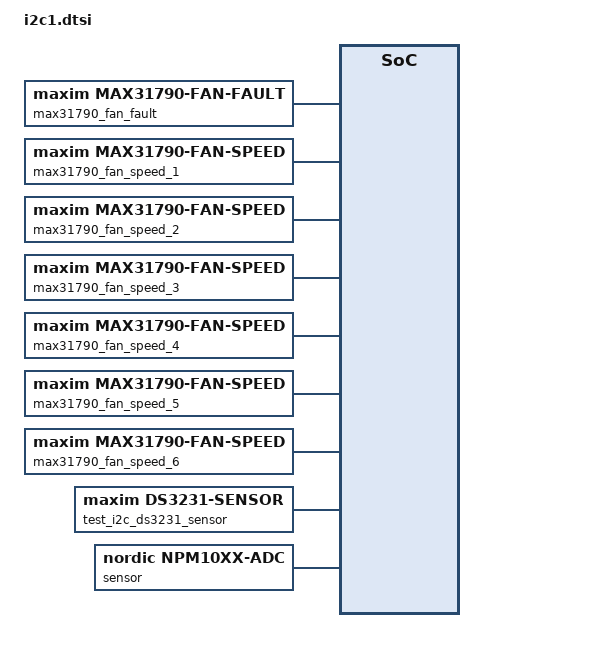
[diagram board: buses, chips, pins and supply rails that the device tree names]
/*
 * Copyright (c) 2020, Linaro Ltd.
 *
 * SPDX-License-Identifier: Apache-2.0
 *
 * Application overlay for i2c devices
 */

#include <zephyr/dt-bindings/sensor/lsm6dsv16x.h>
#include <zephyr/dt-bindings/sensor/lsm6dsv32x.h>
#include <zephyr/dt-bindings/sensor/lsm6dsv320x.h>
#include <zephyr/dt-bindings/sensor/lsm6dsv80x.h>
#include <zephyr/dt-bindings/sensor/ism6hg256x.h>
#include <zephyr/dt-bindings/sensor/lsm6dso.h>
#include <zephyr/dt-bindings/sensor/lsm6dso16is.h>
#include <zephyr/dt-bindings/sensor/lps22hh.h>
#include <zephyr/dt-bindings/sensor/lps2xdf.h>
#include <zephyr/dt-bindings/sensor/lis2ds12.h>
#include <zephyr/dt-bindings/sensor/lis2dw12.h>
#include <zephyr/dt-bindings/sensor/ism330dhcx.h>
#include <zephyr/dt-bindings/sensor/iis2dlpc.h>
#include <zephyr/dt-bindings/sensor/lis2dh.h>
#include <zephyr/dt-bindings/sensor/iis2iclx.h>
#include <zephyr/dt-bindings/sensor/lis2du12.h>
#include <zephyr/dt-bindings/sensor/lis2dux12.h>
#include <zephyr/dt-bindings/sensor/lis2de12.h>
#include <zephyr/dt-bindings/sensor/pac194x.h>
#include <zephyr/dt-bindings/sensor/tmag5273.h>
#include <zephyr/dt-bindings/sensor/stts22h.h>
#include <zephyr/dt-bindings/sensor/ina226.h>
#include <zephyr/dt-bindings/sensor/apds9253.h>
#include <zephyr/dt-bindings/sensor/tmp11x.h>
#include <zephyr/dt-bindings/sensor/tmp114.h>

/****************************************
 * PLEASE KEEP REG ADDRESSES SEQUENTIAL *
 **************************************
 */

test_i2c_lis2de12: lis2de12@0 {
	compatible = "st,lis2de12";
	reg = <0x00>;
	int1-gpios = <&test_gpio 0 0>;
	int2-gpios = <&test_gpio 0 0>;
	accel-range = <LIS2DE12_DT_FS_16G>;
	accel-odr = <LIS2DE12_DT_ODR_AT_100Hz>;
};

test_i2c_vishay_vcnl36825t: vcnl36825t@1 {
	compatible = "vishay,vcnl36825t";
	reg = <0x01>;

	proximity-it = "1";
	multi-pulse = <8>;

	low-power;

	int-gpios = <&test_gpio 0 0>;
};

test_i2c_tmag5273: tmag5273@2 {
	compatible = "ti,tmag5273";
	status = "okay";
	reg = <0x02>;
	int-gpios = <&test_gpio 15 1>;

	operation-mode = <TMAG5273_DT_OPER_MODE_CONTINUOUS>;
	angle-magnitude-axis = <TMAG5273_DT_ANGLE_MAG_XY>;
};

test_i2c_ens160: ens160@3 {
	compatible = "sciosense,ens160";
	reg = <0x03>;
	int-gpios = <&test_gpio 0 0>;
};

test_i2c_tsl2591: tsl2591@4 {
	compatible = "ams,tsl2591";
	reg = <0x04>;
	int-gpios = <&test_gpio 0 0>;
};

test_i2c_max31790: max31790@5 {
	compatible = "maxim,max31790";
	status = "okay";
	reg = <0x05>;

	max31790_fan_fault: max31790_fan_fault {
		compatible = "maxim,max31790-fan-fault";
		status = "okay";
	};

	max31790_fan_speed_1: max31790_fan_speed_1 {
		compatible = "maxim,max31790-fan-speed";
		status = "okay";
		channel = <1>;
	};

	max31790_fan_speed_2: max31790_fan_speed_2 {
		compatible = "maxim,max31790-fan-speed";
		status = "okay";
		channel = <2>;
	};

	max31790_fan_speed_3: max31790_fan_speed_3 {
		compatible = "maxim,max31790-fan-speed";
		status = "okay";
		channel = <3>;
	};

	max31790_fan_speed_4: max31790_fan_speed_4 {
		compatible = "maxim,max31790-fan-speed";
		status = "okay";
		channel = <4>;
	};

	max31790_fan_speed_5: max31790_fan_speed_5 {
		compatible = "maxim,max31790-fan-speed";
		status = "okay";
		channel = <5>;
	};

	max31790_fan_speed_6: max31790_fan_speed_6 {
		compatible = "maxim,max31790-fan-speed";
		status = "okay";
		channel = <6>;
	};
};

test_i2c_stts22h: stts22h@6 {
	compatible = "st,stts22h";
	reg = <0x06>;
	int-gpios = <&test_gpio 0 0>;
	sampling-rate = <STTS22H_100Hz>;
};

test_i2c_dht20: dht20@7 {
	compatible = "aosong,dht20";
	reg = <0x07>;
	status = "okay";
};

test_i2c_aht20: aht20@8 {
	compatible = "aosong,aht20";
	reg = <0x08>;
	status = "okay";
};

test_i2c_am2301b: am2301b@9 {
	compatible = "aosong,am2301b";
	reg = <0x09>;
};

test_i2c_lis2dux12: lis2dux12@a {
	compatible = "st,lis2dux12";
	reg = <0x0a>;
	int1-gpios = <&test_gpio 0 0>;
	int2-gpios = <&test_gpio 0 0>;
	range = <LIS2DUX12_DT_FS_16G>;
	odr = <LIS2DUX12_DT_ODR_100Hz>;
	power-mode = <LIS2DUX12_OPER_MODE_HIGH_PERFORMANCE>;
	status = "okay";
};

test_i2c_iis328dq: iis328dq@b {
	compatible = "st,iis328dq";
	status = "okay";
	reg = <0x0b>;
	int2-gpios = <&test_gpio 0 0>;
	threshold-int-pad = <2>;
};

test_i2c_nct75: test_i2c_nct75@c {
	compatible = "onnn,nct75";
	reg = <0x0c>;
	status = "okay";
};

test_i2c_tmp114: tmp114@d {
	compatible = "ti,tmp114";
	reg = <0x0d>;
	odr = <TMP114_DT_ODR_250_MS>;
};

test_i2c_ina226: ina226@e {
	compatible = "ti,ina226";
	reg = <0x0e>;
	current-lsb-microamps = <5000>;
	rshunt-micro-ohms = <500>;
};

test_i2c_shtc1: shtc1@f {
	compatible = "sensirion,shtc1", "sensirion,shtcx";
	reg = <0x0f>;
	measure-mode = "low-power";
	clock-stretching;
};

test_i2c_lm95234: lm95234@10 {
	compatible = "national,lm95234";
	reg = <0x10>;
	status = "okay";
};

test_i2c_sht21: sht21@11 {
	compatible = "sensirion,sht21";
	reg = <0x11>;
};

test_i2c_lsm9ds1: lsm9ds1@12 {
	compatible = "st,lsm9ds1";
	reg = <0x12>;
};

test_i2c_icm42670p: icm42670p@13 {
	compatible = "invensense,icm42670p";
	reg = <0x13>;
	int-gpios = <&test_gpio 0 0>;
	accel-hz = <800>;
	accel-fs = <16>;
	gyro-hz = <800>;
	gyro-fs = <2000>;
};

test_i2c_fxls8974: fxls8974@14 {
	compatible = "nxp,fxls8974";
	reg = <0x14>;
	reset-gpios = <&test_gpio 0 0>;
	int1-gpios = <&test_gpio 0 0>;
	int2-gpios = <&test_gpio 0 0>;
};

test_i2c_bmp180: bmp180@15 {
	compatible = "bosch,bmp180";
	reg = <0x15>;
	osr-press = <0x01>;
};

test_i2c_apds9253: apds9253@16 {
	compatible = "avago,apds9253";
	reg = <0x16>;
	int-gpios = <&test_gpio 0 0>;
	gain = <APDS9253_GAIN_RANGE_1>;
	rate = <APDS9253_MEASUREMENT_RATE_50MS>;
	resolution = <APDS9253_RESOLUTION_16BIT_25MS>;
};

test_i2c_mmc56x3: mmc56x3@17 {
	compatible = "memsic,mmc56x3";
	reg = <0x17>;
	magn-odr = <0>;
	auto-self-reset;
};

test_i2c_tmp1075: tmp1075@18 {
	compatible = "ti,tmp1075";
	reg = <0x18>;
	alert-gpios = <&test_gpio 0 0>;
	conversion-rate = <220000>;
	lower-threshold = <27>;
	upper-threshold = <28>;
	consecutive-fault-measurements = <4>;
	interrupt-mode;
};

test_i2c_bmp390: bmp390@19 {
	compatible = "bosch,bmp390";
	reg = <0x19>;
	int-gpios = <&test_gpio 0 0>;
	odr = "12.5";
	osr-press = <8>;
	osr-temp = <1>;
	iir-filter = <3>;
};

apds_9306: apds9306@1a {
	compatible = "avago,apds9306";
	reg = <0x1a>;
	status = "okay";
	gain = <1>;
	resolution = <13>;
	measurement-period = <2000>;
};

test_i2c_wsen_hids_2525020210002: wsen_hids_2525020210002@1b {
	compatible = "we,wsen-hids-2525020210002";
	reg = <0x1b>;
	precision = "high";
};

test_i2c_ilps22qs: ilps22qs@1c {
	compatible = "st,ilps22qs";
	reg = <0x1c>;
	status = "okay";
	odr = <LPS2xDF_DT_ODR_10HZ>;
	lpf = <LPS2xDF_DT_LP_FILTER_ODR_4>;
	avg = <LPS2xDF_DT_AVG_128_SAMPLES>;
	fs = <ILPS22QS_DT_FS_MODE_1_1260>;
};

test_i2c_sts4x: sts4x@1d {
	compatible = "sensirion,sts4x";
	reg = <0x1d>;
	repeatability = <2>;
};

test_i2c_scd41: scd41@1e {
	compatible = "sensirion,scd41";
	reg = <0x1e>;
	mode = <0>;
};

test_i2c_npm2100: npm2100@1f {
	compatible = "nordic,npm2100";
	reg = <0x1f>;

	vbat {
		compatible = "nordic,npm2100-vbat";
	};
};

test_i2c_mlx90394: mlx90394@20 {
	compatible = "melexis,mlx90394";
	status = "okay";
	reg = <0x20>;
};

test_i2c_scd40: scd40@21 {
	compatible = "sensirion,scd40";
	reg = <0x21>;
};

test_i2c_ina236: ina236@22 {
	compatible = "ti,ina236";
	reg = <0x22>;
	current-lsb-microamps = <1000>;
	rshunt-micro-ohms = <1000>;
	mask = <0>;
	alert-limit = <0>;
	alert-gpios = <&test_gpio 0 0>;
};

test_i2c_as6212: as6212@23 {
	compatible = "ams,as6212";
	reg = <0x23>;
};

test_i2c_p3t1755: p3t1755@24 {
	compatible = "nxp,p3t1755";
	reg = <0x24>;
};

test_i2c_lsm6dso32: lsm6dso32@25 {
	compatible = "st,lsm6dso32";
	reg = <0x25>;
	irq-gpios = <&test_gpio 0 0>;
	accel-pm = <LSM6DSO_DT_XL_ULP_MODE>;
	accel-range = <LSM6DSO_DT_FS_8G>;
	accel-odr = <LSM6DSO_DT_ODR_1Hz6>;
	gyro-pm = <LSM6DSO_DT_GY_NORMAL_MODE>;
	gyro-range = <LSM6DSO_DT_FS_2000DPS>;
	gyro-odr = <LSM6DSO_DT_ODR_6667Hz>;
};

test_i2c_hs400x: hs400x@26 {
	compatible = "renesas,hs400x";
	reg = <0x26>;
};

test_i2c_lis2duxs12: lis2duxs12@27 {
	compatible = "st,lis2duxs12";
	reg = <0x27>;
	int1-gpios = <&test_gpio 0 0>;
	int2-gpios = <&test_gpio 0 0>;
	range = <LIS2DUX12_DT_FS_16G>;
	odr = <LIS2DUX12_DT_ODR_100Hz>;
	power-mode = <LIS2DUX12_OPER_MODE_HIGH_PERFORMANCE>;
	status = "okay";
};

test_i2c_tmag3001: tmag3001@28 {
	compatible = "ti,tmag3001";
	status = "okay";
	reg = <0x28>;
	int-gpios = <&test_gpio 15 1>;
	operation-mode = <TMAG5273_DT_OPER_MODE_CONTINUOUS>;
	angle-magnitude-axis = <TMAG5273_DT_ANGLE_MAG_XY>;
};

test_i2c_tmp435: tmp435@29 {
	compatible = "ti,tmp435";
	reg = <0x29>;
	external-channel;
	resistance-correction;
	beta-compensation = <0x0f>;
};

test_i2c_xbr818: xbr818@2a {
	compatible = "phosense,xbr818";
	reg = <0x2a>;
	int-gpios = <&test_gpio 0 0>;
	i2c-en-gpios = <&test_gpio 0 0>;
};

test_i2c_veml6031: veml6031@2b {
	compatible = "vishay,veml6031";
	reg = <0x2b>;
};

test_i2c_bmm350: bmm350@2c {
	compatible = "bosch,bmm350";
	reg = <0x2c>;
	drdy-gpios = <&test_gpio 0 0>;
};

test_i2c_ltr329: ltr329@2d {
	compatible = "liteon,ltr329";
	reg = <0x2d>;
};

test_i2c_ms5837_30ba: ms5837@2e {
	compatible = "meas,ms5837-30ba";
	reg = <0x2e>;
	status = "okay";
};

test_i2c_icp201xx: icp201xx@2f {
	compatible = "invensense,icp201xx";
	reg = <0x2f>;
	int-gpios = <&test_gpio 0 0>;
	op-mode = "mode0";
	drive-strength = "current_12mA_1_8V";
};

test_i2c_paj7620: paj7620@30 {
	compatible = "pixart,paj7620";
	reg = <0x30>;
	int-gpios = <&test_gpio 0 0>;
};

test_i2c_icm45686: icm45686@31 {
	compatible = "invensense,icm45686";
	reg = <0x31>;
	int-gpios = <&test_gpio 0 0>;
};

test_i2c_rm3100: rm3100@32 {
	compatible = "pni,rm3100";
	reg = <0x32>;
	int-gpios = <&test_gpio 0 0>;
};

test_i2c_bh1790: bh1790@33 {
	compatible = "rohm,bh1790";
	reg = <0x33>;
};

test_i2c_bh1730: bh1730@34 {
	compatible = "rohm,bh1730";
	reg = <0x34>;
};

test_i2c_npm1300: npm1300@35 {
	compatible = "nordic,npm1300";
	reg = <0x35>;

	charger {
		compatible = "nordic,npm1300-charger";
		vbus-limit-microamp = <1000000>;
		thermistor-ohms = <10000>;
		thermistor-beta = <3380>;
		term-microvolt = <4150000>;
		current-microamp = <150000>;
		dischg-limit-microamp = <1000000>;
	};
};

test_i2c_npm1304: npm1304@36 {
	compatible = "nordic,npm1304";
	reg = <0x36>;

	charger {
		compatible = "nordic,npm1304-charger";
		vbus-limit-microamp = <1000000>;
		thermistor-ohms = <10000>;
		thermistor-beta = <3380>;
		term-microvolt = <4150000>;
		current-microamp = <10000>;
	};
};

test_i2c_ds3231: ds3231@37 {
	compatible = "maxim,ds3231-mfd";
	reg = <0x37>;

	test_i2c_ds3231_sensor: ds3231_sensor {
		compatible = "maxim,ds3231-sensor";
	};
};

test_i2c_adxl366: adxl366@38 {
	compatible = "adi,adxl366";
	reg = <0x38>;
	int1-gpios = <&test_gpio 0 0>;
	odr = <4>;
	fifo-mode = <0>;
};

test_i2c_lsm9ds1_mag: lsm9ds1_mag@39 {
	compatible = "st,lsm9ds1_mag";
	reg = <0x39>;
};

test_i2c_mb7040: mb7040@3a {
	compatible = "maxbotix,mb7040";
	reg = <0x3a>;
	status-gpios = <&test_gpio 0 0>;
};

test_i2c_wsen_isds_2536030320001: wsen_isds_2536030320001@3b {
	compatible = "we,wsen-isds-2536030320001";
	reg = <0x3b>;
	accel-odr = "416";
	gyro-odr = "416";
	tap-threshold = <9>;
	tap-latency = <5>;
	tap-shock = <2>;
	tap-quiet = <1>;
	tap-mode = <1>;
	tap-axis-enable = <0 0 1>;
	events-interrupt-gpios = <&test_gpio 0 0>;
	drdy-interrupt-gpios = <&test_gpio 0 0>;
};

test_i2c_ina7xx: ina7xx@3c {
	compatible = "ti,ina7xx";
	reg = <0x3c>;
	inatype = <2>;
	convdly = <0x80>;
	mode = <0xf>;
	vbusct = <5>;
	vsenct = <5>;
	tct = <5>;
	avg = <3>;
};

test_i2c_als31300: als31300@3d {
	compatible = "allegro,als31300";
	reg = <0x3d>;
};

test_i2c_hdc302x: hdc302x@3e {
	compatible = "ti,hdc302x";
	reg = <0x3e>;
	int-gpios = <&test_gpio 0 0>;
};

test_i2c_veml6046: veml6046@3f {
	compatible = "vishay,veml6046";
	reg = <0x3f>;
};

test_i2c_wsen_pdms_25131308XXX05: wsen_pdms_25131308XXX05@40 {
	compatible = "we,wsen-pdms-25131308XXX05";
	reg = <0x40>;
	sensor-type = <4>;
};

test_i2c_ina232: ina232@41 {
	compatible = "ti,ina232";
	reg = <0x41>;
	current-lsb-microamps = <1000>;
	rshunt-micro-ohms = <1000>;
	mask = <0>;
	alert-limit = <0>;
	alert-gpios = <&test_gpio 0 0>;
};

test_rv3032: rv3032c7@42 {
	compatible = "microcrystal,rv3032-mfd";
	reg = <0x42>;
	int-gpios = <&test_gpio 0 0>;
	evi-gpios = <&test_gpio 0 0>;
	backup-switch-mode = "disabled";
	always-on;
	status = "okay";

	test_rv3032_temp: rv3032_temp {
		compatible = "microcrystal,rv3032-temp";
		low-temp = <40>;
		high-temp = <105>;
		status = "okay";
	};
};

test_i2c_as6221: as6221@43 {
	compatible = "ams,as6221";
	reg = <0x43>;
};

test_i2c_opt3004: opt3004@44 {
	compatible = "ti,opt3004";
	reg = <0x44>;
};

test_i2c_max30210: max30210@45 {
	compatible = "adi,max30210";
	reg = <0x45>;
	interrupt-gpios = <&test_gpio 0 0>;
};

test_i2c_lsm6dsv320x: lsm6dsv320x@46 {
	compatible = "st,lsm6dsv320x";
	reg = <0x46>;
	int1-gpios = <&test_gpio 0 0>;
	int2-gpios = <&test_gpio 0 0>;
	accel-range = <LSM6DSV320X_DT_FS_8G>;
	accel-odr = <LSM6DSVXXX_DT_ODR_AT_60Hz>;
	gyro-range = <LSM6DSV320X_DT_FS_2000DPS>;
	gyro-odr = <LSM6DSVXXX_DT_ODR_AT_60Hz>;
};

test_i2c_lsm6dsv80x: lsm6dsv80x@47 {
	compatible = "st,lsm6dsv80x";
	reg = <0x47>;
	int1-gpios = <&test_gpio 0 0>;
	int2-gpios = <&test_gpio 0 0>;
	accel-range = <LSM6DSV80X_DT_FS_8G>;
	accel-odr = <LSM6DSVXXX_DT_ODR_AT_60Hz>;
	gyro-range = <LSM6DSV80X_DT_FS_2000DPS>;
	gyro-odr = <LSM6DSVXXX_DT_ODR_AT_60Hz>;
};

test_i2c_ism6hg256x: ism6hg256x@48 {
	compatible = "st,ism6hg256x";
	reg = <0x48>;
	int1-gpios = <&test_gpio 0 0>;
	int2-gpios = <&test_gpio 0 0>;
	accel-range = <LSM6DSV80X_DT_FS_8G>;
	accel-odr = <LSM6DSVXXX_DT_ODR_AT_60Hz>;
	gyro-range = <LSM6DSV80X_DT_FS_2000DPS>;
	gyro-odr = <LSM6DSVXXX_DT_ODR_AT_60Hz>;
};

test_i2c_ltr553: ltr553@49 {
	compatible = "liteon,ltr553";
	reg = <0x49>;
};

test_i2c_stcc4: stcc4@4a {
	compatible = "sensirion,stcc4";
	reg = <0x4a>;
	measurement-mode = <0>;
};

test_i2c_qmi8658a: qmi8658a@4b {
	compatible = "qst,qmi8658a";
	reg = <0x4b>;
	int-gpios = <&test_gpio 0 0>;
};

test_i2c_npm10xx: npm10xx@4c {
	reg = <0x4c>;
	compatible = "nordic,npm10xx";

	sensor {
		compatible = "nordic,npm10xx-adc";
	};
};

test_i2c_adxl355: adxl55@4d {
	compatible = "adi,adxl355";
	reg = <0x4d>;
	int1-gpios = <&test_gpio 0 0>;
};

test_i2c_htu21d: htu21d@4e {
	compatible = "meas,htu21d";
	reg = <0x4e>;
};

test_i2c_cht8315: cht8315@4f {
	compatible = "sensylink,cht8315";
	reg = <0x4f>;
	alert-gpios = <&test_gpio 0 0>;
};

test_i2c_pac194x: pac194x@50 {
	compatible = "microchip,pac194x";
	reg = <0x50>;
	status = "okay";
	#address-cells = <1>;
	#size-cells = <0>;
	microchip,refresh-mode = <PAC_REFRESH_AUTO_NOWAIT>;

	channel@1 {
		reg = <0x1>;
		friendly-name = "CPU";
		microchip,shunt-resistor-micro-ohms = <4000>;
		microchip,vbus-mode = <PAC_UNIPOLAR_FSR>;
		microchip,vsense-mode = <PAC_UNIPOLAR_FSR>;
		microchip,accumulation-mode = <PAC_ACCUM_VPOWER>;
	};

	channel@2 {
		reg = <0x2>;
		friendly-name = "MEM";
		microchip,shunt-resistor-micro-ohms = <4000>;
		microchip,vbus-mode = <PAC_BIPOLAR_FSR>;
		microchip,vsense-mode = <PAC_BIPOLAR_HALF_FSR>;
		microchip,accumulation-mode = <PAC_ACCUM_VPOWER>;
	};

	channel@3 {
		reg = <0x3>;
		friendly-name = "GPU";
		microchip,shunt-resistor-micro-ohms = <4000>;
		microchip,vbus-mode = <PAC_UNIPOLAR_FSR>;
		microchip,vsense-mode = <PAC_UNIPOLAR_FSR>;
		microchip,accumulation-mode = <PAC_ACCUM_VBUS>;
	};

	channel@4 {
		reg = <0x4>;
		friendly-name = "NET";
		microchip,shunt-resistor-micro-ohms = <4000>;
		microchip,vbus-mode = <PAC_UNIPOLAR_FSR>;
		microchip,vsense-mode = <PAC_UNIPOLAR_FSR>;
		microchip,accumulation-mode = <PAC_ACCUM_VBUS>;
	};
};

test_i2c_fdc1004: fdc1004@51 {
	compatible = "ti,fdc1004";
	reg = <0x51>;
	measure-rate = <100>;
	ti,capdac = <0 0 0 0>;
};

test_i2c_htu31d: htu31d@52 {
	compatible = "meas,htu31d";
	reg = <0x52>;
};

test_i2c_ms5637: ms5637@53 {
	compatible = "meas,ms5637";
	reg = <0x53>;
};

test_i2c_max30102: max30102@54 {
	compatible = "maxim,max30102";
	reg = <0x54>;
	acq-mode = "multi-led";
};

test_i2c_tmp451: tmp451@55 {
	compatible = "ti,tmp451";
	reg = <0x55>;
	alert-gpios = <&test_gpio 0 0>;
};

test_i2c_icm40627: icm40627@56 {
	compatible = "invensense,icm40627";
	reg = <0x56>;
	int-gpios = <&test_gpio 0 0>;
	accel-hz = <100>;
	gyro-hz = <100>;
	accel-fs = <16>;
	gyro-fs = <2000>;
};
